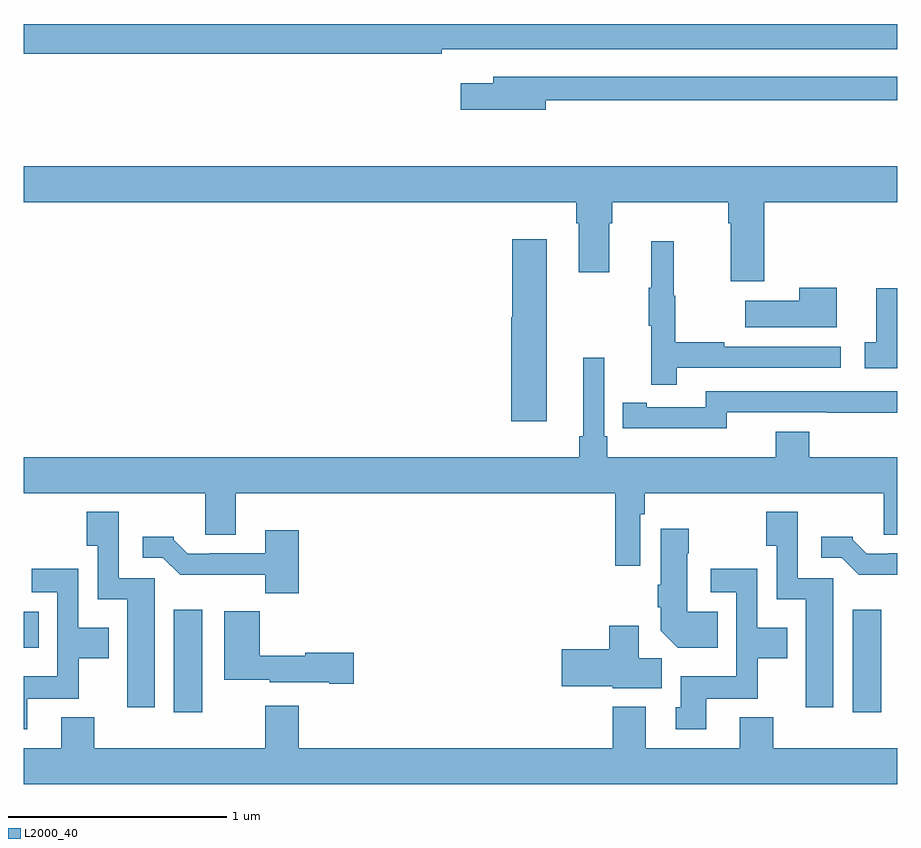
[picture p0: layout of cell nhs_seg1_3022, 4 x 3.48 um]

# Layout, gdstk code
import gdstk
lib = gdstk.Library(unit=1e-6, precision=1e-09)
def R(c, l, rs):  # rectangles x0, y0, x1, y1
    for r in rs: c.add(gdstk.rectangle(r[:2], r[2:], *l))
def P(c, l, *ps):  # polygons
    for p in ps: c.add(gdstk.Polygon(p, *l))
L2000_40 = (2000, 40)

nhs_seg1_3022 = lib.new_cell('nhs_seg1_3022')
R(nhs_seg1_3022, L2000_40, [(275.687,542.736,275.818,543.205), (278.795,542.736,278.926,543.205), (275,543.032,275.069,543.196)])
P(nhs_seg1_3022, L2000_40, [(276.914,545.772),(279,545.772),(279,545.888),(275,545.888),(275,545.752),(276.914,545.752)],
  [(277.39,545.538),(279,545.538),(279,545.646),(277.151,545.646),(277.151,545.617),(277.002,545.617),(277.002,545.495),(277.39,545.495)],
  [(278.39,545.072),(279,545.072),(279,545.236),(275,545.236),(275,545.072),(277.529,545.072),(277.529,544.976),(277.541,544.976),(277.541,544.752),(277.681,544.752),(277.681,544.976),(277.694,544.976),(277.694,545.072),(278.225,545.072),(278.225,544.976),(278.237,544.976),(278.237,544.71),(278.39,544.71)],
  [(277.396,544.903),(277.238,544.903),(277.238,544.545),(277.232,544.545),(277.232,544.068),(277.396,544.068)],
  [(277.991,544.314),(278.74,544.314),(278.74,544.41),(278.207,544.41),(278.207,544.43),(277.984,544.43),(277.984,544.644),(277.976,544.644),(277.976,544.894),(277.874,544.894),(277.874,544.681),(277.863,544.681),(277.863,544.507),(277.874,544.507),(277.874,544.236),(277.991,544.236)],
  [(278.722,544.681),(278.552,544.681),(278.552,544.621),(278.303,544.621),(278.303,544.499),(278.722,544.499)],
  [(279,544.678),(278.903,544.678),(278.903,544.431),(278.85,544.431),(278.85,544.311),(279,544.311)],
  [(277.824,543.644),(277.844,543.644),(277.844,543.74),(278.939,543.74),(278.939,543.55),(279,543.55),(279,543.904),(278.597,543.904),(278.597,544.021),(278.444,544.021),(278.444,543.904),(277.673,543.904),(277.673,544),(277.659,544),(277.659,544.36),(277.562,544.36),(277.562,544),(277.543,544),(277.543,543.904),(275,543.904),(275,543.74),(275.831,543.74),(275.831,543.55),(275.971,543.55),(275.971,543.74),(277.708,543.74),(277.708,543.408),(277.824,543.408)],
  [(278.22,544.11),(278.68,544.11),(278.68,544.109),(279,544.109),(279,544.206),(278.124,544.206),(278.124,544.134),(277.852,544.134),(277.852,544.154),(277.744,544.154),(277.744,544.038),(277.852,544.038),(277.852,544.037),(278.22,544.037)],
  [(278.707,543.351),(278.544,543.351),(278.544,543.655),(278.401,543.655),(278.401,543.499),(278.448,543.499),(278.448,543.254),(278.582,543.254),(278.582,542.76),(278.707,542.76)],
  [(275.599,543.351),(275.436,543.351),(275.436,543.655),(275.288,543.655),(275.288,543.499),(275.34,543.499),(275.34,543.254),(275.474,543.254),(275.474,542.76),(275.599,542.76)],
  [(278.177,543.196),(278.038,543.196),(278.038,543.464),(278.046,543.464),(278.046,543.577),(277.916,543.577),(277.916,543.32),(277.904,543.32),(277.904,543.217),(277.916,543.217),(277.916,543.11),(277.994,543.032),(278.177,543.032)],
  [(276.26,543.571),(276.107,543.571),(276.107,543.465),(275.851,543.465),(275.851,543.462),(275.752,543.462),(275.688,543.526),(275.688,543.541),(275.544,543.541),(275.544,543.444),(275.637,543.444),(275.716,543.366),(276.105,543.366),(276.105,543.281),(276.26,543.281)],
  [(279,543.465),(278.959,543.465),(278.959,543.462),(278.86,543.462),(278.796,543.526),(278.796,543.541),(278.652,543.541),(278.652,543.444),(278.745,543.444),(278.824,543.366),(279,543.366)],
  [(275.017,542.798),(275.253,542.798),(275.253,542.984),(275.389,542.984),(275.389,543.124),(275.25,543.124),(275.25,543.394),(275.037,543.394),(275.037,543.285),(275.154,543.285),(275.154,542.902),(275,542.902),(275,542.658),(275.017,542.658)],
  [(278.125,542.798),(278.361,542.798),(278.361,542.984),(278.497,542.984),(278.497,543.124),(278.358,543.124),(278.358,543.394),(278.145,543.394),(278.145,543.285),(278.262,543.285),(278.262,542.902),(278.009,542.902),(278.009,542.76),(277.985,542.76),(277.985,542.658),(278.125,542.658)],
  [(276.511,543.008),(276.288,543.008),(276.288,542.995),(276.08,542.995),(276.08,543.199),(275.918,543.199),(275.918,542.885),(276.126,542.885),(276.126,542.873),(276.398,542.873),(276.398,542.866),(276.511,542.866)],
  [(277.921,542.984),(277.816,542.984),(277.816,543.133),(277.682,543.133),(277.682,543.026),(277.464,543.026),(277.464,542.855),(277.698,542.855),(277.698,542.846),(277.921,542.846)],
  [(279,542.572),(278.432,542.572),(278.432,542.713),(278.279,542.713),(278.279,542.572),(277.849,542.572),(277.849,542.761),(277.697,542.761),(277.697,542.572),(276.26,542.572),(276.26,542.767),(276.107,542.767),(276.107,542.572),(275.324,542.572),(275.324,542.713),(275.171,542.713),(275.171,542.572),(275,542.572),(275,542.408),(279,542.408)])

lib.write_gds('nhs_seg1_3022.gds')
